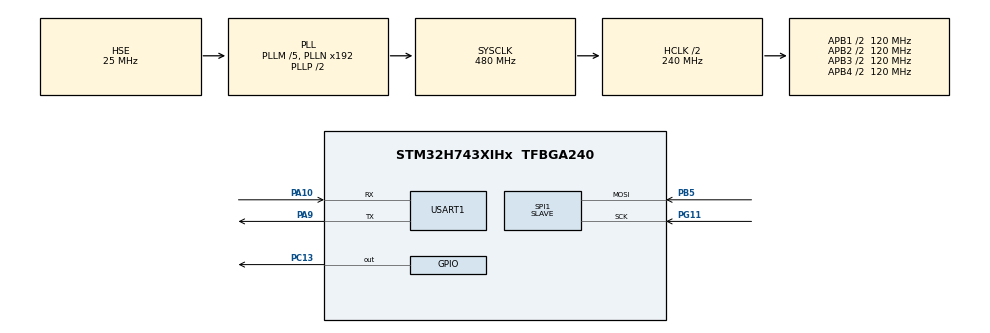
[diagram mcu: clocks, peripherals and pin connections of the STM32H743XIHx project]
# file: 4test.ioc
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CORTEX_M7.CPU_DCache=Enabled
CORTEX_M7.CPU_ICache=Enabled
CORTEX_M7.default_mode_Activation=1
Dma.Request0=SPI1_RX
Dma.SPI1_RX.0.Direction=DMA_PERIPH_TO_MEMORY
Dma.SPI1_RX.0.EventEnable=DISABLE
Dma.SPI1_RX.0.FIFOMode=DMA_FIFOMODE_DISABLE
Dma.SPI1_RX.0.Instance=DMA1_Stream0
Dma.SPI1_RX.0.MemDataAlignment=DMA_MDATAALIGN_BYTE
Dma.SPI1_RX.0.MemInc=DMA_MINC_ENABLE
Dma.SPI1_RX.0.Mode=DMA_NORMAL
Dma.SPI1_RX.0.PeriphDataAlignment=DMA_PDATAALIGN_BYTE
Dma.SPI1_RX.0.PeriphInc=DMA_PINC_DISABLE
Dma.SPI1_RX.0.Polarity=HAL_DMAMUX_REQ_GEN_RISING
Dma.SPI1_RX.0.Priority=DMA_PRIORITY_MEDIUM
Dma.SPI1_RX.0.RequestNumber=1
Dma.SPI1_RX.0.SignalID=NONE
Dma.SPI1_RX.0.SyncEnable=DISABLE
Dma.SPI1_RX.0.SyncPolarity=HAL_DMAMUX_SYNC_NO_EVENT
Dma.SPI1_RX.0.SyncRequestNumber=1
Dma.SPI1_RX.0.SyncSignalID=NONE
Mcu.Family=STM32H7
Mcu.Name=STM32H743XIHx
Mcu.Package=TFBGA240
NVIC.DMA1_Stream0_IRQn=true\:0\:0\:false\:false\:true\:false\:true\:true
NVIC.PriorityGroup=NVIC_PRIORITYGROUP_4
NVIC.SPI1_IRQn=true\:0\:0\:false\:false\:true\:true\:true\:true
PA10.Mode=Asynchronous
PA10.Signal=USART1_RX
PA9.Mode=Asynchronous
PA9.Signal=USART1_TX
PB5.Mode=RX_Only_Simplex_Unidirect_Slave
PB5.Signal=SPI1_MOSI
PC13.Signal=GPIO_Output
PG11.Mode=RX_Only_Simplex_Unidirect_Slave
PG11.Signal=SPI1_SCK
PH0-OSC_IN\ (PH0).Mode=HSE-External-Oscillator
PH0-OSC_IN\ (PH0).Signal=RCC_OSC_IN
PH1-OSC_OUT\ (PH1).Mode=HSE-External-Oscillator
PH1-OSC_OUT\ (PH1).Signal=RCC_OSC_OUT
ProjectManager.HeapSize=0x200
ProjectManager.StackSize=0x400
ProjectManager.TargetToolchain=STM32CubeIDE
RCC.ADCFreq_Value=50390625
RCC.APB1Freq_Value=120000000
RCC.APB2Freq_Value=120000000
RCC.APB3Freq_Value=120000000
RCC.APB4Freq_Value=120000000
RCC.CortexFreq_Value=480000000
RCC.D1PPRE=RCC_APB3_DIV2
RCC.D2PPRE1=RCC_APB1_DIV2
RCC.D2PPRE2=RCC_APB2_DIV2
RCC.D3PPRE=RCC_APB4_DIV2
RCC.DIVM1=5
RCC.DIVM3=5
RCC.DIVN1=192
RCC.DIVN3=150
RCC.DIVP3=75
RCC.HCLKFreq_Value=240000000
RCC.HPRE=RCC_HCLK_DIV2
RCC.HSE_VALUE=25000000
RCC.PLL2FRACN=0
RCC.PLL3FRACN=0
RCC.PLLFRACN=0
RCC.PLLSourceVirtual=RCC_PLLSOURCE_HSE
RCC.SPI123CLockSelection=RCC_SPI123CLKSOURCE_PLL3
RCC.SYSCLKFreq_VALUE=480000000
RCC.SYSCLKSource=RCC_SYSCLKSOURCE_PLLCLK
RCC.USBFreq_Value=480000000
SPI1.DataSize=SPI_DATASIZE_8BIT
SPI1.Direction=SPI_DIRECTION_2LINES_RXONLY
SPI1.Mode=SPI_MODE_SLAVE
SPI1.VirtualType=VM_SLAVE
USART1.VirtualMode-Asynchronous=VM_ASYNC
VP_MEMORYMAP_VS_MEMORYMAP.Mode=CurAppReg
board=custom

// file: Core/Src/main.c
/* USER CODE BEGIN Header */
/**
 ******************************************************************************
 * @file           : main.c
 * @brief          : Main program body
 ******************************************************************************
 * @attention
 *
 * Copyright (c) 2025 STMicroelectronics.
 * All rights reserved.
 *
 * This software is licensed under terms that can be found in the LICENSE file
 * in the root directory of this software component.
 * If no LICENSE file comes with this software, it is provided AS-IS.
 *
 ******************************************************************************
 */
/* USER CODE END Header */
#include "main.h"
#include "dma.h"
#include "spi.h"
#include "usart.h"
#include "gpio.h"

/* USER CODE BEGIN Includes */
#include "string.h"
#include <stdio.h>
/* USER CODE END Includes */

/* USER CODE BEGIN PD */
#define Buffer_Size 50
/* USER CODE END PD */

/* USER CODE BEGIN PV */
uint8_t rx_data;
uint8_t rx_flag = 0;

uint8_t rx_buffer[Buffer_Size];
uint8_t buffer_index = 0;

/* USER CODE END PV */

void SystemClock_Config(void);
static void MPU_Config(void);

/* USER CODE BEGIN 0 */

void HAL_SPI_RxCpltCallback(SPI_HandleTypeDef *hspi)
{
	if (hspi->Instance == SPI1) {
		rx_flag = 1;
		HAL_SPI_Receive_DMA(&hspi1, &rx_data, 1);
	}
}

/* USER CODE END 0 */

int main(void)
{

  /* USER CODE BEGIN 1 */
//	uint8_t rx_buffer[Buffer_Size];
//	uint8_t buffer_index = 0;
  /* USER CODE END 1 */

  /* MPU Configuration--------------------------------------------------------*/
  MPU_Config();

  /* Enable the CPU Cache */

  /* Enable I-Cache---------------------------------------------------------*/
  SCB_EnableICache();

  /* Enable D-Cache---------------------------------------------------------*/
  SCB_EnableDCache();

  /* MCU Configuration--------------------------------------------------------*/

  /* Reset of all peripherals, Initializes the Flash interface and the Systick. */
  HAL_Init();

  /* Configure the system clock */
  SystemClock_Config();

  /* Initialize all configured peripherals */
  MX_GPIO_Init();
  MX_DMA_Init();
  MX_SPI1_Init();
  MX_USART1_UART_Init();

  /* Infinite loop */
  /* USER CODE BEGIN WHILE */
	while (1)
	{
		HAL_GPIO_TogglePin(GPIOC, GPIO_PIN_13);
//		HAL_Delay(100);

		HAL_SPI_Receive_DMA(&hspi1, &rx_data, 1);

		if(rx_flag == 1){
			rx_flag = 0;
			rx_buffer[buffer_index] = rx_data;

			//HAL_SPI_Receive_DMA(&hspi1, &rx_data, 1);

			char str[50];
			sprintf(str,"rx_buffer[%d] = %d \n", buffer_index, rx_buffer[buffer_index]);
			HAL_UART_Transmit(&huart1, (uint8_t *)str, strlen(str), 1000);

			buffer_index++;

			if(buffer_index == Buffer_Size) {
				buffer_index = 0;
			}
		}
    /* USER CODE END WHILE */

	}
}

void SystemClock_Config(void)
{
  RCC_OscInitTypeDef RCC_OscInitStruct = {0};
  RCC_ClkInitTypeDef RCC_ClkInitStruct = {0};

  /** Supply configuration update enable
  */
  HAL_PWREx_ConfigSupply(PWR_LDO_SUPPLY);

  /** Configure the main internal regulator output voltage
  */
  __HAL_PWR_VOLTAGESCALING_CONFIG(PWR_REGULATOR_VOLTAGE_SCALE0);

  while(!__HAL_PWR_GET_FLAG(PWR_FLAG_VOSRDY)) {}

  /** Initializes the RCC Oscillators according to the specified parameters
  * in the RCC_OscInitTypeDef structure.
  */
  RCC_OscInitStruct.OscillatorType = RCC_OSCILLATORTYPE_HSE;
  RCC_OscInitStruct.HSEState = RCC_HSE_ON;
  RCC_OscInitStruct.PLL.PLLState = RCC_PLL_ON;
  RCC_OscInitStruct.PLL.PLLSource = RCC_PLLSOURCE_HSE;
  RCC_OscInitStruct.PLL.PLLM = 5;
  RCC_OscInitStruct.PLL.PLLN = 192;
  RCC_OscInitStruct.PLL.PLLP = 2;
  RCC_OscInitStruct.PLL.PLLQ = 2;
  RCC_OscInitStruct.PLL.PLLR = 2;
  RCC_OscInitStruct.PLL.PLLRGE = RCC_PLL1VCIRANGE_2;
  RCC_OscInitStruct.PLL.PLLVCOSEL = RCC_PLL1VCOWIDE;
  RCC_OscInitStruct.PLL.PLLFRACN = 0;
  if (HAL_RCC_OscConfig(&RCC_OscInitStruct) != HAL_OK)
  {
    Error_Handler();
  }

  /** Initializes the CPU, AHB and APB buses clocks
  */
  RCC_ClkInitStruct.ClockType = RCC_CLOCKTYPE_HCLK|RCC_CLOCKTYPE_SYSCLK
                              |RCC_CLOCKTYPE_PCLK1|RCC_CLOCKTYPE_PCLK2
                              |RCC_CLOCKTYPE_D3PCLK1|RCC_CLOCKTYPE_D1PCLK1;
  RCC_ClkInitStruct.SYSCLKSource = RCC_SYSCLKSOURCE_PLLCLK;
  RCC_ClkInitStruct.SYSCLKDivider = RCC_SYSCLK_DIV1;
  RCC_ClkInitStruct.AHBCLKDivider = RCC_HCLK_DIV2;
  RCC_ClkInitStruct.APB3CLKDivider = RCC_APB3_DIV2;
  RCC_ClkInitStruct.APB1CLKDivider = RCC_APB1_DIV2;
  RCC_ClkInitStruct.APB2CLKDivider = RCC_APB2_DIV2;
  RCC_ClkInitStruct.APB4CLKDivider = RCC_APB4_DIV2;

  if (HAL_RCC_ClockConfig(&RCC_ClkInitStruct, FLASH_LATENCY_4) != HAL_OK)
  {
    Error_Handler();
  }
}

 /* MPU Configuration */

void MPU_Config(void)
{
  MPU_Region_InitTypeDef MPU_InitStruct = {0};

  /* Disables the MPU */
  HAL_MPU_Disable();

  /** Initializes and configures the Region and the memory to be protected
  */
  MPU_InitStruct.Enable = MPU_REGION_ENABLE;
  MPU_InitStruct.Number = MPU_REGION_NUMBER0;
  MPU_InitStruct.BaseAddress = 0x0;
  MPU_InitStruct.Size = MPU_REGION_SIZE_4GB;
  MPU_InitStruct.SubRegionDisable = 0x87;
  MPU_InitStruct.TypeExtField = MPU_TEX_LEVEL0;
  MPU_InitStruct.AccessPermission = MPU_REGION_NO_ACCESS;
  MPU_InitStruct.DisableExec = MPU_INSTRUCTION_ACCESS_DISABLE;
  MPU_InitStruct.IsShareable = MPU_ACCESS_SHAREABLE;
  MPU_InitStruct.IsCacheable = MPU_ACCESS_NOT_CACHEABLE;
  MPU_InitStruct.IsBufferable = MPU_ACCESS_NOT_BUFFERABLE;

  HAL_MPU_ConfigRegion(&MPU_InitStruct);
  /* Enables the MPU */
  HAL_MPU_Enable(MPU_PRIVILEGED_DEFAULT);

}

void Error_Handler(void)
{
	__disable_irq();
	while (1)
	{
	}
}
